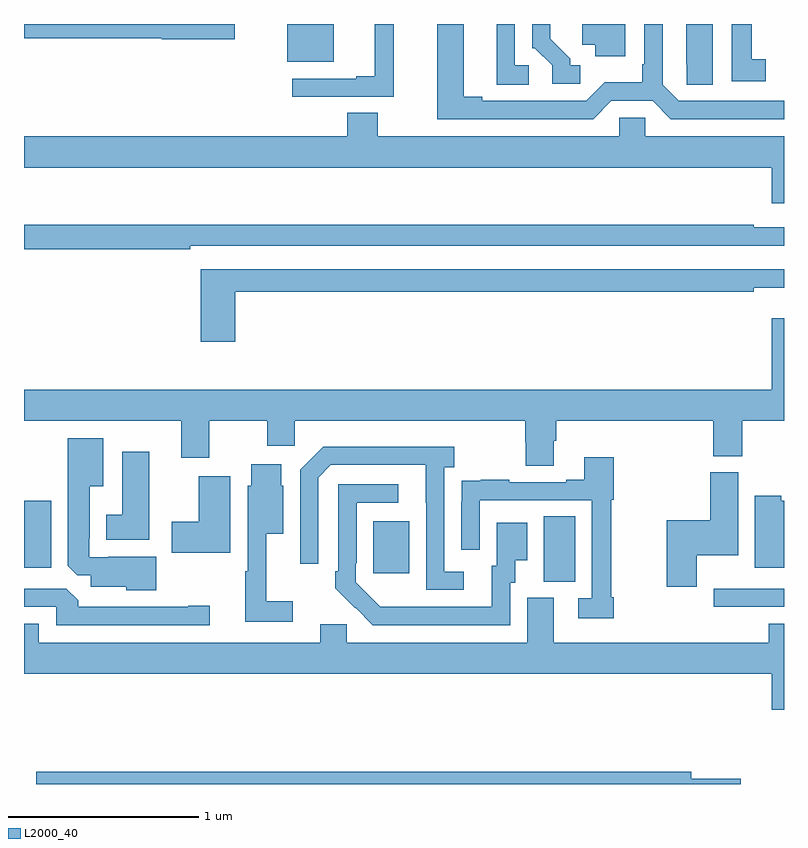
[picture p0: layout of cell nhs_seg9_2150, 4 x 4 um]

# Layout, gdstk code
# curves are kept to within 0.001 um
import gdstk
lib = gdstk.Library(unit=1e-6, precision=1e-09)
def R(c, l, rs):  # rectangles x0, y0, x1, y1
    for r in rs: c.add(gdstk.rectangle(r[:2], r[2:], *l))
def P(c, l, *ps):  # polygons
    for p in ps: c.add(gdstk.Polygon(p, *l))
L2000_40 = (2000, 40)

nhs_seg9_2150 = lib.new_cell('nhs_seg9_2150')
R(nhs_seg9_2150, L2000_40, [(236.631,1203.432,237,1203.528), (235.736,1203.565,235.9,1203.908), (234.839,1203.609,235.027,1203.883), (233,1203.638,233.143,1203.991), (234.386,1206.302,234.631,1206.5)])
P(nhs_seg9_2150, L2000_40, [(236.164,1206.5),(235.937,1206.5),(235.937,1206.392),(236.006,1206.392),(236.006,1206.33),(236.164,1206.33)],
  [(236.905,1206.314),(236.83,1206.314),(236.83,1206.5),(236.726,1206.5),(236.726,1206.198),(236.905,1206.198)],
  [(235.927,1206.282),(235.876,1206.282),(235.876,1206.317),(235.771,1206.422),(235.771,1206.5),(235.674,1206.5),(235.674,1206.372),(235.689,1206.372),(235.779,1206.282),(235.779,1206.186),(235.927,1206.186)],
  [(234.109,1206.5),(233,1206.5),(233,1206.424),(233.724,1206.424),(233.724,1206.419),(234.109,1206.419)],
  [(236.626,1206.5),(236.486,1206.5),(236.486,1206.289),(236.487,1206.289),(236.487,1206.181),(236.626,1206.181)],
  [(236.091,1206.096),(236.309,1206.096),(236.405,1206),(237,1206),(237,1206.096),(236.445,1206.096),(236.361,1206.18),(236.361,1206.5),(236.265,1206.5),(236.265,1206.289),(236.253,1206.289),(236.253,1206.193),(236.056,1206.193),(235.959,1206.096),(235.411,1206.096),(235.411,1206.116),(235.315,1206.116),(235.315,1206.5),(235.175,1206.5),(235.175,1206),(235.995,1206)],
  [(234.945,1206.5),(234.845,1206.5),(234.845,1206.226),(234.749,1206.226),(234.749,1206.213),(234.411,1206.213),(234.411,1206.117),(234.945,1206.117)],
  [(235.657,1206.282),(235.584,1206.282),(235.584,1206.5),(235.487,1206.5),(235.487,1206.181),(235.657,1206.181)],
  [(237,1205.908),(236.271,1205.908),(236.271,1206.006),(236.133,1206.006),(236.133,1205.908),(234.861,1205.908),(234.861,1206.032),(234.701,1206.032),(234.701,1205.908),(233,1205.908),(233,1205.744),(236.936,1205.744),(236.936,1205.556),(237,1205.556)],
  [(233.876,1205.334),(237,1205.334),(237,1205.43),(236.84,1205.43),(236.84,1205.443),(233,1205.443),(233,1205.314),(233.876,1205.314)],
  [(234.113,1205.092),(236.84,1205.092),(236.84,1205.111),(237,1205.111),(237,1205.208),(233.93,1205.208),(233.93,1204.827),(234.113,1204.827)],
  [(235.789,1204.306),(235.802,1204.306),(235.802,1204.412),(236.627,1204.412),(236.627,1204.225),(236.779,1204.225),(236.779,1204.412),(237,1204.412),(237,1204.951),(236.936,1204.951),(236.936,1204.576),(233,1204.576),(233,1204.412),(233.828,1204.412),(233.828,1204.218),(233.976,1204.218),(233.976,1204.412),(234.28,1204.412),(234.28,1204.281),(234.426,1204.281),(234.426,1204.412),(235.637,1204.412),(235.637,1204.299),(235.642,1204.299),(235.642,1204.174),(235.789,1204.174)],
  [(233.695,1203.697),(233.443,1203.697),(233.443,1203.693),(233.343,1203.693),(233.343,1203.793),(233.347,1203.793),(233.347,1204.067),(233.416,1204.067),(233.416,1204.321),(233.231,1204.321),(233.231,1203.649),(233.28,1203.6),(233.351,1203.6),(233.351,1203.539),(233.538,1203.539),(233.538,1203.521),(233.695,1203.521)],
  [(235.315,1203.618),(235.212,1203.618),(235.212,1204.166),(235.264,1204.166),(235.264,1204.276),(234.576,1204.276),(234.453,1204.153),(234.453,1203.66),(234.549,1203.66),(234.549,1204.113),(234.615,1204.179),(235.115,1204.179),(235.116,1203.522),(235.315,1203.522)],
  [(233.659,1204.249),(233.516,1204.249),(233.516,1203.916),(233.432,1203.916),(233.432,1203.785),(233.659,1203.785)],
  [(236.105,1203.484),(236.09,1203.484),(236.09,1203.996),(236.105,1203.996),(236.105,1204.219),(235.949,1204.219),(235.949,1204.102),(235.853,1204.102),(235.853,1204.089),(235.553,1204.089),(235.553,1204.102),(235.405,1204.102),(235.405,1204.095),(235.303,1204.095),(235.303,1203.986),(235.302,1203.986),(235.302,1203.732),(235.398,1203.732),(235.398,1203.993),(235.989,1203.993),(235.989,1203.477),(235.917,1203.477),(235.917,1203.372),(236.105,1203.372)],
  [(234.415,1203.463),(234.275,1203.463),(234.275,1203.818),(234.364,1203.818),(234.364,1204.071),(234.355,1204.071),(234.355,1204.183),(234.197,1204.183),(234.197,1204.071),(234.177,1204.071),(234.177,1203.62),(234.165,1203.62),(234.165,1203.354),(234.415,1203.354)],
  [(236.542,1203.704),(236.758,1203.704),(236.758,1204.14),(236.612,1204.14),(236.612,1203.889),(236.384,1203.889),(236.384,1203.537),(236.542,1203.537)],
  [(234.085,1204.12),(233.921,1204.12),(233.921,1203.879),(233.778,1203.879),(233.778,1203.716),(234.085,1203.716)],
  [(235.56,1203.558),(235.585,1203.558),(235.585,1203.677),(235.648,1203.677),(235.648,1203.874),(235.487,1203.874),(235.487,1203.648),(235.463,1203.648),(235.463,1203.432),(234.876,1203.433),(234.747,1203.561),(234.747,1203.661),(234.75,1203.661),(234.75,1203.981),(234.97,1203.981),(234.97,1204.077),(234.654,1204.077),(234.654,1203.619),(234.639,1203.619),(234.639,1203.531),(234.836,1203.336),(235.56,1203.336)],
  [(237,1203.991),(236.985,1203.991),(236.985,1204.018),(236.846,1204.018),(236.846,1203.638),(237,1203.638)],
  [(233.977,1203.437),(233.864,1203.437),(233.864,1203.432),(233.285,1203.432),(233.285,1203.466),(233.223,1203.528),(233,1203.528),(233,1203.432),(233.169,1203.432),(233.169,1203.336),(233.977,1203.336)],
  [(237,1203.343),(236.921,1203.343),(236.921,1203.244),(235.789,1203.244),(235.789,1203.48),(235.649,1203.48),(235.649,1203.244),(234.699,1203.244),(234.699,1203.342),(234.56,1203.342),(234.56,1203.244),(233.077,1203.244),(233.077,1203.343),(233,1203.343),(233,1203.08),(236.936,1203.08),(236.936,1202.892),(237,1202.892)],
  [(236.773,1202.528),(236.512,1202.528),(236.512,1202.564),(233.065,1202.564),(233.065,1202.5),(236.773,1202.5)])

lib.write_gds('nhs_seg9_2150.gds')
